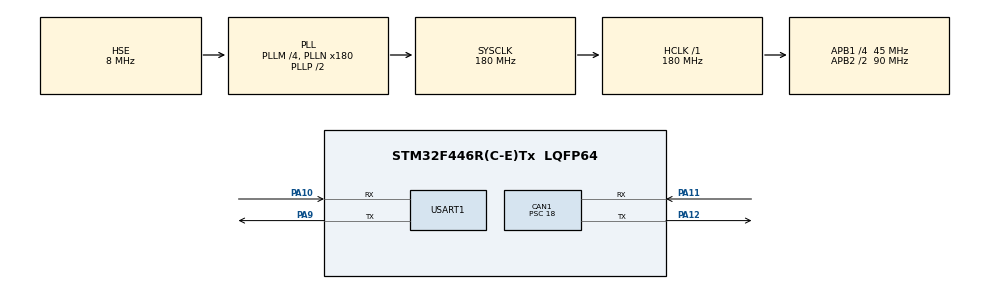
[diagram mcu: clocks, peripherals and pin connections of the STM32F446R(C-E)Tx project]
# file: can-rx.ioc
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CAN1.BS1=CAN_BS1_3TQ
CAN1.BS2=CAN_BS2_6TQ
CAN1.CalculateBaudRate=250000
CAN1.CalculateTimeBit=4000
CAN1.CalculateTimeQuantum=400.0
CAN1.Prescaler=18
Dma.Request0=USART1_TX
Dma.USART1_TX.0.Direction=DMA_MEMORY_TO_PERIPH
Dma.USART1_TX.0.FIFOMode=DMA_FIFOMODE_DISABLE
Dma.USART1_TX.0.Instance=DMA2_Stream7
Dma.USART1_TX.0.MemDataAlignment=DMA_MDATAALIGN_BYTE
Dma.USART1_TX.0.MemInc=DMA_MINC_ENABLE
Dma.USART1_TX.0.Mode=DMA_CIRCULAR
Dma.USART1_TX.0.PeriphDataAlignment=DMA_PDATAALIGN_BYTE
Dma.USART1_TX.0.PeriphInc=DMA_PINC_DISABLE
Dma.USART1_TX.0.Priority=DMA_PRIORITY_LOW
Mcu.Family=STM32F4
Mcu.Name=STM32F446R(C-E)Tx
Mcu.Package=LQFP64
NVIC.CAN1_RX0_IRQn=true\:0\:0\:false\:false\:true\:true\:true\:true
NVIC.CAN1_RX1_IRQn=true\:0\:0\:false\:false\:true\:true\:true\:true
NVIC.CAN1_SCE_IRQn=true\:0\:0\:false\:false\:true\:true\:true\:true
NVIC.DMA2_Stream7_IRQn=true\:0\:0\:false\:false\:true\:false\:true\:true
NVIC.PriorityGroup=NVIC_PRIORITYGROUP_4
PA10.Mode=Asynchronous
PA10.Signal=USART1_RX
PA11.Mode=CAN_Activate
PA11.Signal=CAN1_RX
PA12.Mode=CAN_Activate
PA12.Signal=CAN1_TX
PA13.Mode=Serial_Wire
PA13.Signal=SYS_JTMS-SWDIO
PA14.Mode=Serial_Wire
PA14.Signal=SYS_JTCK-SWCLK
PA9.Mode=Asynchronous
PA9.Signal=USART1_TX
PH0-OSC_IN.Mode=HSE-External-Oscillator
PH0-OSC_IN.Signal=RCC_OSC_IN
PH1-OSC_OUT.Mode=HSE-External-Oscillator
PH1-OSC_OUT.Signal=RCC_OSC_OUT
ProjectManager.HeapSize=0x200
ProjectManager.StackSize=0x400
ProjectManager.TargetToolchain=STM32CubeIDE
RCC.AHBFreq_Value=180000000
RCC.APB1CLKDivider=RCC_HCLK_DIV4
RCC.APB1Freq_Value=45000000
RCC.APB1TimFreq_Value=90000000
RCC.APB2CLKDivider=RCC_HCLK_DIV2
RCC.APB2Freq_Value=90000000
RCC.APB2TimFreq_Value=180000000
RCC.CortexFreq_Value=180000000
RCC.HCLKFreq_Value=180000000
RCC.HSE_VALUE=8000000
RCC.PLLM=4
RCC.PLLN=180
RCC.PLLSourceVirtual=RCC_PLLSOURCE_HSE
RCC.SYSCLKFreq_VALUE=180000000
RCC.SYSCLKSource=RCC_SYSCLKSOURCE_PLLCLK
RCC.USBFreq_Value=180000000
RCC.VCOOutputFreq_Value=360000000
USART1.VirtualMode=VM_ASYNC
board=custom

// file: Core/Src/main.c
/* USER CODE BEGIN Header */
/**
  ******************************************************************************
  * @file           : main.c
  * @brief          : Main program body
  ******************************************************************************
  * @attention
  *
  * Copyright (c) 2024 STMicroelectronics.
  * All rights reserved.
  *
  * This software is licensed under terms that can be found in the LICENSE file
  * in the root directory of this software component.
  * If no LICENSE file comes with this software, it is provided AS-IS.
  *
  ******************************************************************************
  */
/* USER CODE END Header */
#include "main.h"

/* USER CODE BEGIN Includes */
#include "canbus.h"

/* USER CODE END Includes */

CAN_HandleTypeDef hcan1;

UART_HandleTypeDef huart1;
DMA_HandleTypeDef hdma_usart1_tx;

/* USER CODE BEGIN PV */

CAN_FilterTypeDef configFilter;
CAN_RxHeaderTypeDef rxHeader;
uint8_t rxData[8];
uint32_t TxMailbox;
/* USER CODE END PV */

void SystemClock_Config(void);
static void MX_GPIO_Init(void);
static void MX_DMA_Init(void);
static void MX_CAN1_Init(void);
static void MX_USART1_UART_Init(void);

int main(void)
{

  /* MCU Configuration--------------------------------------------------------*/

  /* Reset of all peripherals, Initializes the Flash interface and the Systick. */
  HAL_Init();

  /* Configure the system clock */
  SystemClock_Config();

  /* Initialize all configured peripherals */
  MX_GPIO_Init();
  MX_DMA_Init();
  MX_CAN1_Init();
  MX_USART1_UART_Init();
  /* USER CODE BEGIN 2 */
  canbusRxInit(&hcan1, &configFilter);
  /* USER CODE END 2 */

  /* Infinite loop */
  while (1)
  {

  }
}

void SystemClock_Config(void)
{
  RCC_OscInitTypeDef RCC_OscInitStruct = {0};
  RCC_ClkInitTypeDef RCC_ClkInitStruct = {0};

  /** Configure the main internal regulator output voltage
  */
  __HAL_RCC_PWR_CLK_ENABLE();
  __HAL_PWR_VOLTAGESCALING_CONFIG(PWR_REGULATOR_VOLTAGE_SCALE1);

  /** Initializes the RCC Oscillators according to the specified parameters
  * in the RCC_OscInitTypeDef structure.
  */
  RCC_OscInitStruct.OscillatorType = RCC_OSCILLATORTYPE_HSE;
  RCC_OscInitStruct.HSEState = RCC_HSE_ON;
  RCC_OscInitStruct.PLL.PLLState = RCC_PLL_ON;
  RCC_OscInitStruct.PLL.PLLSource = RCC_PLLSOURCE_HSE;
  RCC_OscInitStruct.PLL.PLLM = 4;
  RCC_OscInitStruct.PLL.PLLN = 180;
  RCC_OscInitStruct.PLL.PLLP = RCC_PLLP_DIV2;
  RCC_OscInitStruct.PLL.PLLQ = 2;
  RCC_OscInitStruct.PLL.PLLR = 2;
  if (HAL_RCC_OscConfig(&RCC_OscInitStruct) != HAL_OK)
  {
    Error_Handler();
  }

  /** Activate the Over-Drive mode
  */
  if (HAL_PWREx_EnableOverDrive() != HAL_OK)
  {
    Error_Handler();
  }

  /** Initializes the CPU, AHB and APB buses clocks
  */
  RCC_ClkInitStruct.ClockType = RCC_CLOCKTYPE_HCLK|RCC_CLOCKTYPE_SYSCLK
                              |RCC_CLOCKTYPE_PCLK1|RCC_CLOCKTYPE_PCLK2;
  RCC_ClkInitStruct.SYSCLKSource = RCC_SYSCLKSOURCE_PLLCLK;
  RCC_ClkInitStruct.AHBCLKDivider = RCC_SYSCLK_DIV1;
  RCC_ClkInitStruct.APB1CLKDivider = RCC_HCLK_DIV4;
  RCC_ClkInitStruct.APB2CLKDivider = RCC_HCLK_DIV2;

  if (HAL_RCC_ClockConfig(&RCC_ClkInitStruct, FLASH_LATENCY_5) != HAL_OK)
  {
    Error_Handler();
  }
}

static void MX_CAN1_Init(void)
{

  hcan1.Instance = CAN1;
  hcan1.Init.Prescaler = 18;
  hcan1.Init.Mode = CAN_MODE_NORMAL;
  hcan1.Init.SyncJumpWidth = CAN_SJW_1TQ;
  hcan1.Init.TimeSeg1 = CAN_BS1_3TQ;
  hcan1.Init.TimeSeg2 = CAN_BS2_6TQ;
  hcan1.Init.TimeTriggeredMode = DISABLE;
  hcan1.Init.AutoBusOff = DISABLE;
  hcan1.Init.AutoWakeUp = DISABLE;
  hcan1.Init.AutoRetransmission = DISABLE;
  hcan1.Init.ReceiveFifoLocked = DISABLE;
  hcan1.Init.TransmitFifoPriority = DISABLE;
  if (HAL_CAN_Init(&hcan1) != HAL_OK)
  {
    Error_Handler();
  }

}

static void MX_USART1_UART_Init(void)
{

  huart1.Instance = USART1;
  huart1.Init.BaudRate = 115200;
  huart1.Init.WordLength = UART_WORDLENGTH_8B;
  huart1.Init.StopBits = UART_STOPBITS_1;
  huart1.Init.Parity = UART_PARITY_NONE;
  huart1.Init.Mode = UART_MODE_TX_RX;
  huart1.Init.HwFlowCtl = UART_HWCONTROL_NONE;
  huart1.Init.OverSampling = UART_OVERSAMPLING_16;
  if (HAL_UART_Init(&huart1) != HAL_OK)
  {
    Error_Handler();
  }

}

static void MX_DMA_Init(void)
{

  /* DMA controller clock enable */
  __HAL_RCC_DMA2_CLK_ENABLE();

  /* DMA interrupt init */
  /* DMA2_Stream7_IRQn interrupt configuration */
  HAL_NVIC_SetPriority(DMA2_Stream7_IRQn, 0, 0);
  HAL_NVIC_EnableIRQ(DMA2_Stream7_IRQn);

}

static void MX_GPIO_Init(void)
{

  /* GPIO Ports Clock Enable */
  __HAL_RCC_GPIOH_CLK_ENABLE();
  __HAL_RCC_GPIOA_CLK_ENABLE();

}

/* USER CODE BEGIN 4 */

void HAL_CAN_RxFifo0MsgPendingCallback(CAN_HandleTypeDef *hcan1)
{
    uint8_t buffer[128];
    uint32_t id;  // Mesaj ID'si
    int length;

    HAL_CAN_GetRxMessage(hcan1, CAN_RX_FIFO0, &rxHeader, rxData);

    if (rxHeader.IDE == CAN_ID_EXT) {
        id = rxHeader.ExtId;
        length = snprintf((char *)buffer, sizeof(buffer),
                           "Ext ID : 0x%08X, Data: %02X %02X %02X %02X %02X %02X %02X %02X\r\n",
                           id, rxData[0], rxData[1], rxData[2], rxData[3],
                           rxData[4], rxData[5], rxData[6], rxData[7]);
    }
    else
    {
        id = rxHeader.StdId;
        length = snprintf((char *)buffer, sizeof(buffer),
                           "Std ID : 0x%03X, Data: %02X %02X %02X %02X %02X %02X %02X %02X\r\n",
                           id, rxData[0], rxData[1], rxData[2], rxData[3],
                           rxData[4], rxData[5], rxData[6], rxData[7]);
    }

    if (length > 0) {
        HAL_UART_Transmit(&huart1, (uint8_t*)buffer, length, 10000);
    }

    memset(buffer, 0, sizeof(buffer));
}

/* USER CODE END 4 */

void Error_Handler(void)
{
  __disable_irq();
  while (1)
  {
  }
}
